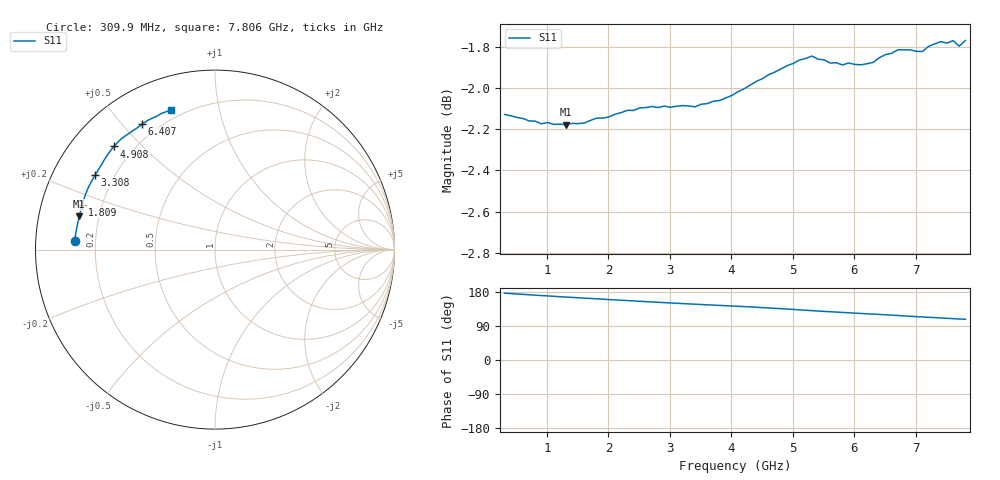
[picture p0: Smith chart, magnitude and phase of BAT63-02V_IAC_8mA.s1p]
! Infineon Technologies  Discrete & RF Semiconductors
! BAT63-02V
! IAC = 8 mA
! One-Port S-Parameters
# Hz  S  MA  R  50
!f  S11
!Hz  Mag  Ang
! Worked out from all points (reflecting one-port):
!   76 points, 309.9 MHz to 7.806 GHz, reference 50 ohm
!   lowest |S11| = -2.2 dB at 1.309 GHz (marker M1), VSWR 8.02, Z = 6.32 + j5.98 ohm
!   phase of S11 starts at 176 deg and turns -69 deg over the sweep
!   S11 on the Smith chart (normalised r, x): 309.9 MHz: 0.12, +0.03; 1.809 GHz: 0.13, +0.16; 3.308 GHz: 0.13, +0.28; 4.908 GHz: 0.13, +0.41; 6.407 GHz: 0.14, +0.57; 7.806 GHz: 0.16, +0.72
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3.0985e8  0.7827 176.4
7.0965e8  0.7799 172.1
1.30935e9  0.7783 166.2
1.8091e9  0.7811 161.3
1.90905e9  0.7811 160.6
2.009e9  0.7816 159.4
2.10895e9  0.7828 158.7
2.2089e9  0.7835 157.6
2.30885e9  0.7845 156.9
2.50875e9  0.7856 155.1
2.6087e9  0.7857 154.0
3.2084e9  0.7866 148.8
3.30835e9  0.7864 148.0
4.10795e9  0.7928 141.6
4.4078e9  0.7974 139.2
4.90755e9  0.8044 134.4
5.0075e9  0.8054 133.4
5.4073e9  0.8073 129.2
6.007e9  0.8049 123.7
6.4068e9  0.808 120.2
6.70665e9  0.8116 117.5
6.90655e9  0.8115 115.6
7.0065e9  0.8109 114.4
7.10645e9  0.8108 113.8
7.2064e9  0.8131 112.7
7.30635e9  0.8143 112.0
7.4063e9  0.8153 110.8
7.8061e9  0.8158 107.5
